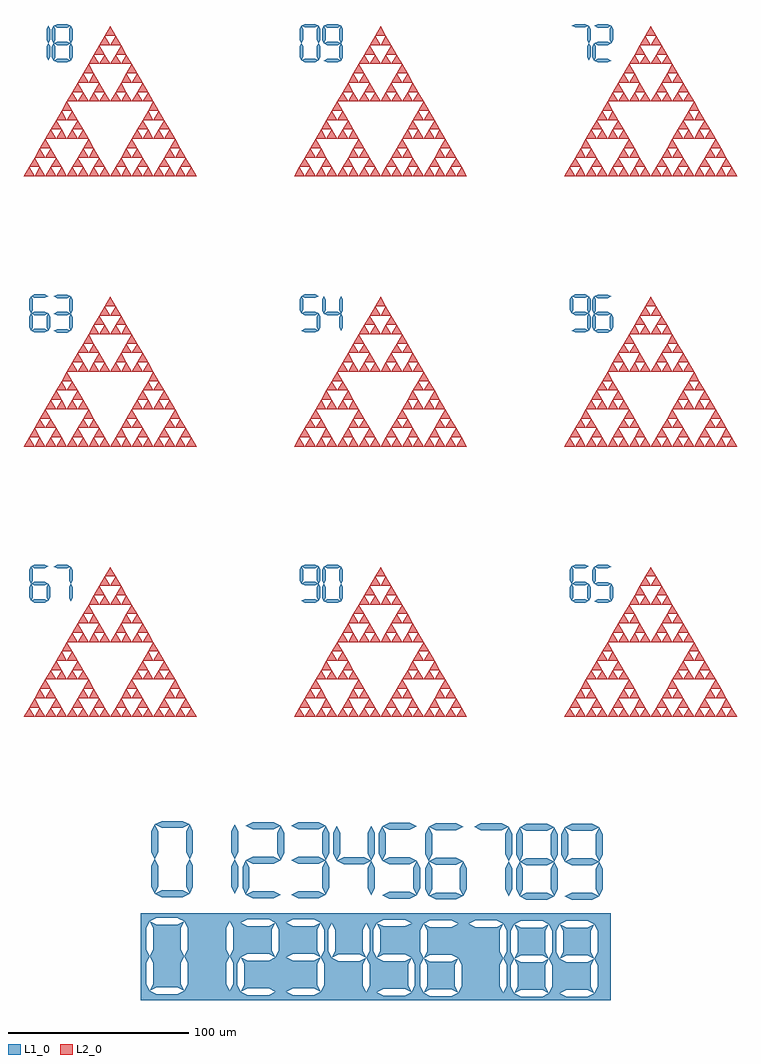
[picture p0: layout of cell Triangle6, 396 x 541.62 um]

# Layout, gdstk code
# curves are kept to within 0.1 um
from math import pi, radians
import gdstk
lib = gdstk.Library(unit=1e-6, precision=1e-09)
def P(c, l, *ps):  # polygons
    for p in ps: c.add(gdstk.Polygon(p, *l))
L1_0 = (1, 0)
L2_0 = (2, 0)

circle_1 = lib.new_cell('CIRCLE$1')
P(circle_1, L2_0, [(-2,-3),(-2,3),(3.196,0)])

triangle1 = lib.new_cell('Triangle1')
triangle1.add(gdstk.Reference(circle_1, (2,1), rotation=pi/2))

triangle2 = lib.new_cell('Triangle2')
triangle2.add(gdstk.Reference(triangle1, (0,-2)))
triangle2.add(gdstk.Reference(triangle1, (6,-2)))
triangle2.add(gdstk.Reference(triangle1, (3,3.196)))

triangle3 = lib.new_cell('Triangle3')
triangle3.add(gdstk.Reference(triangle2, (-0.255,-0.979)))
triangle3.add(gdstk.Reference(triangle2, (5.745,9.413)))
triangle3.add(gdstk.Reference(triangle2, (11.745,-0.979)))

triangle4 = lib.new_cell('Triangle4')
triangle4.add(gdstk.Reference(triangle3, (-7.167,-1.132)))
triangle4.add(gdstk.Reference(triangle3, (4.833,19.652)))
triangle4.add(gdstk.Reference(triangle3, (16.833,-1.132)))

triangle5 = lib.new_cell('Triangle5')
triangle5.add(gdstk.Reference(triangle4, (-16.207,-12.892)))
triangle5.add(gdstk.Reference(triangle4, (7.793,28.676)))
triangle5.add(gdstk.Reference(triangle4, (31.793,-12.892)))

triangle6 = lib.new_cell('Triangle6')
P(triangle6, L1_0, [(129.08,-99.35),(125.24,-97.43),(129.08,-95.51),(140.6,-95.51),(144.44,-97.43),(140.6,-99.35)],
  [(129.08,-80.15),(125.24,-78.23),(129.08,-76.31),(140.6,-76.31),(144.44,-78.23),(140.6,-80.15)],
  [(129.08,-118.55),(125.24,-116.63),(129.08,-114.71),(140.6,-114.71),(144.44,-116.63),(140.6,-118.55)],
  [(41.69,-174.96),(41.69,-129.43),(50.53,-129.43),(46.69,-131.35),(44.77,-135.19),(44.77,-146.71),(46.69,-150.55),(44.77,-154.39),(44.77,-165.91),(46.69,-169.75),(50.53,-171.67),(62.05,-171.67),(65.89,-169.75),(67.81,-165.91),(67.81,-154.39),(65.89,-150.55),(67.81,-146.71),(67.81,-135.19),(65.9,-131.37),(91.03,-131.37),(89.11,-135.21),(89.11,-146.73),(91.03,-150.57),(89.11,-154.41),(89.11,-165.93),(91.03,-169.77),(92.95,-165.93),(92.95,-154.41),(91.03,-150.57),(92.95,-146.73),(92.95,-135.21),(91.03,-131.37),(65.9,-131.37),(63.37,-130.09),(101.07,-130.09),(97.23,-132.01),(101.07,-133.93),(112.59,-133.93),(116.43,-132.01),(114.51,-135.85),(114.51,-147.37),(116.43,-151.21),(112.59,-149.29),(101.07,-149.29),(97.23,-151.21),(95.31,-155.05),(95.31,-166.57),(97.23,-170.41),(101.07,-172.33),(112.59,-172.33),(116.43,-170.41),(112.59,-168.49),(101.07,-168.49),(97.23,-170.41),(99.15,-166.57),(99.15,-155.05),(97.23,-151.21),(101.07,-153.13),(112.59,-153.13),(116.43,-151.21),(118.35,-147.37),(118.35,-135.85),(116.43,-132.01),(112.63,-130.11),(126.21,-130.11),(122.37,-132.03),(126.21,-133.95),(137.73,-133.95),(141.57,-132.03),(139.65,-135.87),(139.65,-147.39),(141.57,-151.23),(137.73,-149.31),(126.21,-149.31),(122.37,-151.23),(126.21,-153.15),(137.73,-153.15),(141.57,-151.23),(139.65,-155.07),(139.65,-166.59),(141.57,-170.43),(137.73,-168.51),(126.21,-168.51),(122.37,-170.43),(126.21,-172.35),(137.73,-172.35),(141.57,-170.43),(143.49,-166.59),(143.49,-155.07),(141.57,-151.23),(143.49,-147.39),(143.49,-135.87),(141.67,-132.23),(166.81,-132.23),(164.89,-136.07),(164.89,-147.59),(166.81,-151.43),(162.97,-149.51),(151.45,-149.51),(147.61,-151.43),(149.53,-147.59),(149.53,-136.07),(147.61,-132.23),(145.69,-136.07),(145.69,-147.59),(147.61,-151.43),(151.45,-153.35),(162.97,-153.35),(166.81,-151.43),(164.89,-155.27),(164.89,-166.79),(166.81,-170.63),(168.73,-166.79),(168.73,-155.27),(166.81,-151.43),(168.73,-147.59),(168.73,-136.07),(166.81,-132.23),(141.67,-132.23),(141.57,-132.03),(138.17,-130.33),(176.59,-130.33),(172.75,-132.25),(170.83,-136.09),(170.83,-147.61),(172.75,-151.45),(176.59,-153.37),(188.11,-153.37),(191.95,-151.45),(190.03,-155.29),(190.03,-166.81),(191.95,-170.65),(188.11,-168.73),(176.59,-168.73),(172.75,-170.65),(176.59,-172.57),(188.11,-172.57),(191.95,-170.65),(193.87,-166.81),(193.87,-155.29),(191.95,-151.45),(188.11,-149.53),(176.59,-149.53),(172.75,-151.45),(174.67,-147.61),(174.67,-136.09),(172.75,-132.25),(176.59,-134.17),(188.11,-134.17),(191.95,-132.25),(188.87,-130.71),(202.47,-130.71),(198.63,-132.63),(196.71,-136.47),(196.71,-147.99),(198.63,-151.83),(196.71,-155.67),(196.71,-167.19),(198.63,-171.03),(202.47,-172.95),(213.99,-172.95),(217.83,-171.03),(219.75,-167.19),(219.75,-155.67),(217.83,-151.83),(213.99,-149.91),(202.47,-149.91),(198.63,-151.83),(200.55,-147.99),(200.55,-136.47),(198.63,-132.63),(202.47,-134.55),(213.99,-134.55),(217.83,-132.63),(214.03,-130.73),(227.61,-130.73),(223.77,-132.65),(227.61,-134.57),(239.13,-134.57),(242.97,-132.65),(241.05,-136.49),(241.05,-148.01),(242.97,-151.85),(241.05,-155.69),(241.05,-167.21),(242.97,-171.05),(244.89,-167.21),(244.89,-155.69),(242.97,-151.85),(244.89,-148.01),(244.89,-136.49),(242.97,-132.65),(239.53,-130.93),(252.85,-130.93),(249.01,-132.85),(247.09,-136.69),(247.09,-148.21),(249.01,-152.05),(247.09,-155.89),(247.09,-167.41),(249.01,-171.25),(252.85,-173.17),(264.37,-173.17),(268.21,-171.25),(270.13,-167.41),(270.13,-155.89),(268.21,-152.05),(270.13,-148.21),(270.13,-136.69),(268.21,-132.85),(264.41,-130.95),(277.99,-130.95),(274.15,-132.87),(272.23,-136.71),(272.23,-148.23),(274.15,-152.07),(277.99,-153.99),(289.51,-153.99),(293.35,-152.07),(291.43,-155.91),(291.43,-167.43),(293.35,-171.27),(289.51,-169.35),(277.99,-169.35),(274.15,-171.27),(277.99,-173.19),(289.51,-173.19),(293.35,-171.27),(295.27,-167.43),(295.27,-155.91),(293.35,-152.07),(295.27,-148.23),(295.27,-136.71),(293.35,-132.87),(289.51,-130.95),(188.87,-130.71),(188.11,-130.33),(138.17,-130.33),(137.73,-130.11),(63.37,-130.09),(62.05,-129.43),(41.69,-129.43),(41.69,-126.81),(302.44,-126.81),(302.44,-174.96)],
  [(143.3,205.96),(142.34,207.88),(142.34,213.64),(143.3,215.56),(144.26,213.64),(144.26,207.88)],
  [(293.3,205.96),(292.34,207.88),(292.34,213.64),(293.3,215.56),(294.26,213.64),(294.26,207.88)],
  [(143.3,355.96),(142.34,357.88),(142.34,363.64),(143.3,365.56),(144.26,363.64),(144.26,357.88)],
  [(152.9,196.36),(151.94,198.28),(151.94,204.04),(152.9,205.96),(153.86,204.04),(153.86,198.28)],
  [(302.9,196.36),(301.94,198.28),(301.94,204.04),(302.9,205.96),(303.86,204.04),(303.86,198.28)],
  [(152.9,346.36),(151.94,348.28),(151.94,354.04),(152.9,355.96),(153.86,354.04),(153.86,348.28)],
  [(145.22,205),(143.3,205.96),(145.22,206.92),(150.98,206.92),(152.9,205.96),(150.98,205)],
  [(295.22,205),(293.3,205.96),(295.22,206.92),(300.98,206.92),(302.9,205.96),(300.98,205)],
  [(145.22,355),(143.3,355.96),(145.22,356.92),(150.98,356.92),(152.9,355.96),(150.98,355)],
  [(295.22,355),(293.3,355.96),(295.22,356.92),(300.98,356.92),(302.9,355.96),(300.98,355)],
  [(295.22,214.6),(293.3,215.56),(295.22,216.52),(300.98,216.52),(302.9,215.56),(300.98,214.6)],
  [(145.22,364.6),(143.3,365.56),(145.22,366.52),(150.98,366.52),(152.9,365.56),(150.98,364.6)],
  [(295.22,364.6),(293.3,365.56),(295.22,366.52),(300.98,366.52),(302.9,365.56),(300.98,364.6)],
  [(295.22,195.4),(293.3,196.36),(295.22,197.32),(300.98,197.32),(302.9,196.36),(300.98,195.4)],
  [(145.22,345.4),(143.3,346.36),(145.22,347.32),(150.98,347.32),(152.9,346.36),(150.98,345.4)],
  [(295.22,345.4),(293.3,346.36),(295.22,347.32),(300.98,347.32),(302.9,346.36),(300.98,345.4)],
  [(152.9,205.96),(151.94,207.88),(151.94,213.64),(152.9,215.56),(153.86,213.64),(153.86,207.88)],
  [(152.9,355.96),(151.94,357.88),(151.94,363.64),(152.9,365.56),(153.86,363.64),(153.86,357.88)],
  [(302.9,355.96),(301.94,357.88),(301.94,363.64),(302.9,365.56),(303.86,363.64),(303.86,357.88)],
  [(293.3,196.36),(292.34,198.28),(292.34,204.04),(293.3,205.96),(294.26,204.04),(294.26,198.28)],
  [(293.3,346.36),(292.34,348.28),(292.34,354.04),(293.3,355.96),(294.26,354.04),(294.26,348.28)],
  [(280.8,206.1),(279.84,208.02),(279.84,213.78),(280.8,215.7),(281.76,213.78),(281.76,208.02)],
  [(290.4,196.5),(289.44,198.42),(289.44,204.18),(290.4,206.1),(291.36,204.18),(291.36,198.42)],
  [(290.4,346.5),(289.44,348.42),(289.44,354.18),(290.4,356.1),(291.36,354.18),(291.36,348.42)],
  [(282.72,205.14),(280.8,206.1),(282.72,207.06),(288.48,207.06),(290.4,206.1),(288.48,205.14)],
  [(282.72,214.74),(280.8,215.7),(282.72,216.66),(288.48,216.66),(290.4,215.7),(288.48,214.74)],
  [(282.72,364.74),(280.8,365.7),(282.72,366.66),(288.48,366.66),(290.4,365.7),(288.48,364.74)],
  [(282.72,195.54),(280.8,196.5),(282.72,197.46),(288.48,197.46),(290.4,196.5),(288.48,195.54)],
  [(290.4,206.1),(289.44,208.02),(289.44,213.78),(290.4,215.7),(291.36,213.78),(291.36,208.02)],
  [(290.4,356.1),(289.44,358.02),(289.44,363.78),(290.4,365.7),(291.36,363.78),(291.36,358.02)],
  [(-4.78,355),(-6.7,355.96),(-4.78,356.92),(0.98,356.92),(2.9,355.96),(0.98,355)],
  [(-6.7,346.36),(-7.66,348.28),(-7.66,354.04),(-6.7,355.96),(-5.74,354.04),(-5.74,348.28)],
  [(-4.78,195.4),(-6.7,196.36),(-4.78,197.32),(0.98,197.32),(2.9,196.36),(0.98,195.4)],
  [(-19.2,206.1),(-20.16,208.02),(-20.16,213.78),(-19.2,215.7),(-18.24,213.78),(-18.24,208.02)],
  [(130.8,206.1),(129.84,208.02),(129.84,213.78),(130.8,215.7),(131.76,213.78),(131.76,208.02)],
  [(-6.7,355.96),(-7.66,357.88),(-7.66,363.64),(-6.7,365.56),(-5.74,363.64),(-5.74,357.88)],
  [(130.8,356.1),(129.84,358.02),(129.84,363.78),(130.8,365.7),(131.76,363.78),(131.76,358.02)],
  [(-9.6,196.5),(-10.56,198.42),(-10.56,204.18),(-9.6,206.1),(-8.64,204.18),(-8.64,198.42)],
  [(140.4,196.5),(139.44,198.42),(139.44,204.18),(140.4,206.1),(141.36,204.18),(141.36,198.42)],
  [(-4.78,345.4),(-6.7,346.36),(-4.78,347.32),(0.98,347.32),(2.9,346.36),(0.98,345.4)],
  [(-9.6,346.5),(-10.56,348.42),(-10.56,354.18),(-9.6,356.1),(-8.64,354.18),(-8.64,348.42)],
  [(140.4,346.5),(139.44,348.42),(139.44,354.18),(140.4,356.1),(141.36,354.18),(141.36,348.42)],
  [(-4.78,205),(-6.7,205.96),(-4.78,206.92),(0.98,206.92),(2.9,205.96),(0.98,205)],
  [(-17.28,205.14),(-19.2,206.1),(-17.28,207.06),(-11.52,207.06),(-9.6,206.1),(-11.52,205.14)],
  [(132.72,205.14),(130.8,206.1),(132.72,207.06),(138.48,207.06),(140.4,206.1),(138.48,205.14)],
  [(-4.78,214.6),(-6.7,215.56),(-4.78,216.52),(0.98,216.52),(2.9,215.56),(0.98,214.6)],
  [(-17.28,214.74),(-19.2,215.7),(-17.28,216.66),(-11.52,216.66),(-9.6,215.7),(-11.52,214.74)],
  [(132.72,214.74),(130.8,215.7),(132.72,216.66),(138.48,216.66),(140.4,215.7),(138.48,214.74)],
  [(2.9,205.96),(1.94,207.88),(1.94,213.64),(2.9,215.56),(3.86,213.64),(3.86,207.88)],
  [(132.72,364.74),(130.8,365.7),(132.72,366.66),(138.48,366.66),(140.4,365.7),(138.48,364.74)],
  [(2.9,196.36),(1.94,198.28),(1.94,204.04),(2.9,205.96),(3.86,204.04),(3.86,198.28)],
  [(-17.28,195.54),(-19.2,196.5),(-17.28,197.46),(-11.52,197.46),(-9.6,196.5),(-11.52,195.54)],
  [(132.72,195.54),(130.8,196.5),(132.72,197.46),(138.48,197.46),(140.4,196.5),(138.48,195.54)],
  [(2.9,355.96),(1.94,357.88),(1.94,363.64),(2.9,365.56),(3.86,363.64),(3.86,357.88)],
  [(132.72,345.54),(130.8,346.5),(132.72,347.46),(138.48,347.46),(140.4,346.5),(138.48,345.54)],
  [(-4.78,364.6),(-6.7,365.56),(-4.78,366.52),(0.98,366.52),(2.9,365.56),(0.98,364.6)],
  [(-9.6,356.1),(-10.56,358.02),(-10.56,363.78),(-9.6,365.7),(-8.64,363.78),(-8.64,358.02)],
  [(140.4,356.1),(139.44,358.02),(139.44,363.78),(140.4,365.7),(141.36,363.78),(141.36,358.02)],
  [(2.9,346.36),(1.94,348.28),(1.94,354.04),(2.9,355.96),(3.86,354.04),(3.86,348.28)],
  [(-19.2,196.5),(-20.16,198.42),(-20.16,204.18),(-19.2,206.1),(-18.24,204.18),(-18.24,198.42)],
  [(130.8,346.5),(129.84,348.42),(129.84,354.18),(130.8,356.1),(131.76,354.18),(131.76,348.42)],
  [(140.4,46.5),(139.44,48.42),(139.44,54.18),(140.4,56.1),(141.36,54.18),(141.36,48.42)],
  [(2.9,46.36),(1.94,48.28),(1.94,54.04),(2.9,55.96),(3.86,54.04),(3.86,48.28)],
  [(-4.78,64.6),(-6.7,65.56),(-4.78,66.52),(0.98,66.52),(2.9,65.56),(0.98,64.6)],
  [(2.9,55.96),(1.94,57.88),(1.94,63.64),(2.9,65.56),(3.86,63.64),(3.86,57.88)],
  [(-19.2,56.1),(-20.16,58.02),(-20.16,63.78),(-19.2,65.7),(-18.24,63.78),(-18.24,58.02)],
  [(-9.6,46.5),(-10.56,48.42),(-10.56,54.18),(-9.6,56.1),(-8.64,54.18),(-8.64,48.42)],
  [(-17.28,55.14),(-19.2,56.1),(-17.28,57.06),(-11.52,57.06),(-9.6,56.1),(-11.52,55.14)],
  [(132.72,55.14),(130.8,56.1),(132.72,57.06),(138.48,57.06),(140.4,56.1),(138.48,55.14)],
  [(-17.28,64.74),(-19.2,65.7),(-17.28,66.66),(-11.52,66.66),(-9.6,65.7),(-11.52,64.74)],
  [(-17.28,45.54),(-19.2,46.5),(-17.28,47.46),(-11.52,47.46),(-9.6,46.5),(-11.52,45.54)],
  [(-19.2,46.5),(-20.16,48.42),(-20.16,54.18),(-19.2,56.1),(-18.24,54.18),(-18.24,48.42)],
  [(132.72,64.74),(130.8,65.7),(132.72,66.66),(138.48,66.66),(140.4,65.7),(138.48,64.74)],
  [(68.76,-96.75),(66.84,-92.91),(66.84,-81.39),(68.76,-77.55),(70.68,-81.39),(70.68,-92.91)],
  [(49.56,-115.95),(47.64,-112.11),(47.64,-100.59),(49.56,-96.75),(51.48,-100.59),(51.48,-112.11)],
  [(93.9,-115.97),(91.98,-112.13),(91.98,-100.61),(93.9,-96.77),(95.82,-100.61),(95.82,-112.13)],
  [(93.9,-96.77),(91.98,-92.93),(91.98,-81.41),(93.9,-77.57),(95.82,-81.41),(95.82,-92.93)],
  [(103.94,-99.33),(100.1,-97.41),(103.94,-95.49),(115.46,-95.49),(119.3,-97.41),(115.46,-99.33)],
  [(132.72,45.54),(130.8,46.5),(132.72,47.46),(138.48,47.46),(140.4,46.5),(138.48,45.54)],
  [(103.94,-80.13),(100.1,-78.21),(103.94,-76.29),(115.46,-76.29),(119.3,-78.21),(115.46,-80.13)],
  [(103.94,-118.53),(100.1,-116.61),(103.94,-114.69),(115.46,-114.69),(119.3,-116.61),(115.46,-118.53)],
  [(119.3,-97.41),(117.38,-93.57),(117.38,-82.05),(119.3,-78.21),(121.22,-82.05),(121.22,-93.57)],
  [(100.1,-116.61),(98.18,-112.77),(98.18,-101.25),(100.1,-97.41),(102.02,-101.25),(102.02,-112.77)],
  [(140.4,56.1),(139.44,58.02),(139.44,63.78),(140.4,65.7),(141.36,63.78),(141.36,58.02)],
  [(49.56,-96.75),(47.64,-92.91),(47.64,-81.39),(49.56,-77.55),(51.48,-81.39),(51.48,-92.91)],
  [(130.8,56.1),(129.84,58.02),(129.84,63.78),(130.8,65.7),(131.76,63.78),(131.76,58.02)],
  [(68.76,-115.95),(66.84,-112.11),(66.84,-100.59),(68.76,-96.75),(70.68,-100.59),(70.68,-112.11)],
  [(53.4,-79.47),(49.56,-77.55),(53.4,-75.63),(64.92,-75.63),(68.76,-77.55),(64.92,-79.47)],
  [(46.69,-169.75),(48.61,-165.91),(48.61,-154.39),(46.69,-150.55),(48.61,-146.71),(48.61,-135.19),(46.69,-131.35),(50.53,-133.27),(62.05,-133.27),(65.89,-131.35),(63.97,-135.19),(63.97,-146.71),(65.89,-150.55),(63.97,-154.39),(63.97,-165.91),(65.89,-169.75),(62.05,-167.83),(50.53,-167.83)],
  [(53.4,-117.87),(49.56,-115.95),(53.4,-114.03),(64.92,-114.03),(68.76,-115.95),(64.92,-117.87)],
  [(296.22,-98.27),(294.3,-94.43),(294.3,-82.91),(296.22,-79.07),(298.14,-82.91),(298.14,-94.43)],
  [(249.01,-171.25),(250.93,-167.41),(250.93,-155.89),(249.01,-152.05),(252.85,-153.97),(264.37,-153.97),(268.21,-152.05),(266.29,-155.89),(266.29,-167.41),(268.21,-171.25),(264.37,-169.33),(252.85,-169.33)],
  [(198.63,-171.03),(200.55,-167.19),(200.55,-155.67),(198.63,-151.83),(202.47,-153.75),(213.99,-153.75),(217.83,-151.83),(215.91,-155.67),(215.91,-167.19),(217.83,-171.03),(213.99,-169.11),(202.47,-169.11)],
  [(274.15,-152.07),(276.07,-148.23),(276.07,-136.71),(274.15,-132.87),(277.99,-134.79),(289.51,-134.79),(293.35,-132.87),(291.43,-136.71),(291.43,-148.23),(293.35,-152.07),(289.51,-150.15),(277.99,-150.15)],
  [(152.9,55.96),(151.94,57.88),(151.94,63.64),(152.9,65.56),(153.86,63.64),(153.86,57.88)],
  [(249.01,-152.05),(250.93,-148.21),(250.93,-136.69),(249.01,-132.85),(252.85,-134.77),(264.37,-134.77),(268.21,-132.85),(266.29,-136.69),(266.29,-148.21),(268.21,-152.05),(264.37,-150.13),(252.85,-150.13)],
  [(144.44,-116.63),(142.52,-112.79),(142.52,-101.27),(144.44,-97.43),(146.36,-101.27),(146.36,-112.79)],
  [(144.44,-97.43),(142.52,-93.59),(142.52,-82.07),(144.44,-78.23),(146.36,-82.07),(146.36,-93.59)],
  [(150.48,-97.63),(148.56,-93.79),(148.56,-82.27),(150.48,-78.43),(152.4,-82.27),(152.4,-93.79)],
  [(169.68,-116.83),(167.76,-112.99),(167.76,-101.47),(169.68,-97.63),(171.6,-101.47),(171.6,-112.99)],
  [(143.3,46.36),(142.34,48.28),(142.34,54.04),(143.3,55.96),(144.26,54.04),(144.26,48.28)],
  [(154.32,-99.55),(150.48,-97.63),(154.32,-95.71),(165.84,-95.71),(169.68,-97.63),(165.84,-99.55)],
  [(169.68,-97.63),(167.76,-93.79),(167.76,-82.27),(169.68,-78.43),(171.6,-82.27),(171.6,-93.79)],
  [(175.62,-97.65),(173.7,-93.81),(173.7,-82.29),(175.62,-78.45),(177.54,-82.29),(177.54,-93.81)],
  [(194.82,-116.85),(192.9,-113.01),(192.9,-101.49),(194.82,-97.65),(196.74,-101.49),(196.74,-113.01)],
  [(280.8,56.1),(279.84,58.02),(279.84,63.78),(280.8,65.7),(281.76,63.78),(281.76,58.02)],
  [(179.46,-99.57),(175.62,-97.65),(179.46,-95.73),(190.98,-95.73),(194.82,-97.65),(190.98,-99.57)],
  [(179.46,-80.37),(175.62,-78.45),(179.46,-76.53),(190.98,-76.53),(194.82,-78.45),(190.98,-80.37)],
  [(179.46,-118.77),(175.62,-116.85),(179.46,-114.93),(190.98,-114.93),(194.82,-116.85),(190.98,-118.77)],
  [(143.3,55.96),(142.34,57.88),(142.34,63.64),(143.3,65.56),(144.26,63.64),(144.26,57.88)],
  [(293.3,55.96),(292.34,57.88),(292.34,63.64),(293.3,65.56),(294.26,63.64),(294.26,57.88)],
  [(290.4,46.5),(289.44,48.42),(289.44,54.18),(290.4,56.1),(291.36,54.18),(291.36,48.42)],
  [(201.5,-98.03),(199.58,-94.19),(199.58,-82.67),(201.5,-78.83),(203.42,-82.67),(203.42,-94.19)],
  [(220.7,-117.23),(218.78,-113.39),(218.78,-101.87),(220.7,-98.03),(222.62,-101.87),(222.62,-113.39)],
  [(205.34,-99.95),(201.5,-98.03),(205.34,-96.11),(216.86,-96.11),(220.7,-98.03),(216.86,-99.95)],
  [(205.34,-80.75),(201.5,-78.83),(205.34,-76.91),(216.86,-76.91),(220.7,-78.83),(216.86,-80.75)],
  [(152.9,46.36),(151.94,48.28),(151.94,54.04),(152.9,55.96),(153.86,54.04),(153.86,48.28)],
  [(302.9,46.36),(301.94,48.28),(301.94,54.04),(302.9,55.96),(303.86,54.04),(303.86,48.28)],
  [(205.34,-119.15),(201.5,-117.23),(205.34,-115.31),(216.86,-115.31),(220.7,-117.23),(216.86,-119.15)],
  [(282.72,55.14),(280.8,56.1),(282.72,57.06),(288.48,57.06),(290.4,56.1),(288.48,55.14)],
  [(201.5,-117.23),(199.58,-113.39),(199.58,-101.87),(201.5,-98.03),(203.42,-101.87),(203.42,-113.39)],
  [(245.84,-117.25),(243.92,-113.41),(243.92,-101.89),(245.84,-98.05),(247.76,-101.89),(247.76,-113.41)],
  [(230.48,-80.77),(226.64,-78.85),(230.48,-76.93),(242,-76.93),(245.84,-78.85),(242,-80.77)],
  [(245.84,-98.05),(243.92,-94.21),(243.92,-82.69),(245.84,-78.85),(247.76,-82.69),(247.76,-94.21)],
  [(282.72,64.74),(280.8,65.7),(282.72,66.66),(288.48,66.66),(290.4,65.7),(288.48,64.74)],
  [(295.22,55),(293.3,55.96),(295.22,56.92),(300.98,56.92),(302.9,55.96),(300.98,55)],
  [(251.88,-98.25),(249.96,-94.41),(249.96,-82.89),(251.88,-79.05),(253.8,-82.89),(253.8,-94.41)],
  [(271.08,-117.45),(269.16,-113.61),(269.16,-102.09),(271.08,-98.25),(273,-102.09),(273,-113.61)],
  [(255.72,-100.17),(251.88,-98.25),(255.72,-96.33),(267.24,-96.33),(271.08,-98.25),(267.24,-100.17)],
  [(255.72,-80.97),(251.88,-79.05),(255.72,-77.13),(267.24,-77.13),(271.08,-79.05),(267.24,-80.97)],
  [(255.72,-119.37),(251.88,-117.45),(255.72,-115.53),(267.24,-115.53),(271.08,-117.45),(267.24,-119.37)],
  [(282.72,45.54),(280.8,46.5),(282.72,47.46),(288.48,47.46),(290.4,46.5),(288.48,45.54)],
  [(271.08,-98.25),(269.16,-94.41),(269.16,-82.89),(271.08,-79.05),(273,-82.89),(273,-94.41)],
  [(145.22,64.6),(143.3,65.56),(145.22,66.52),(150.98,66.52),(152.9,65.56),(150.98,64.6)],
  [(295.22,64.6),(293.3,65.56),(295.22,66.52),(300.98,66.52),(302.9,65.56),(300.98,64.6)],
  [(251.88,-117.45),(249.96,-113.61),(249.96,-102.09),(251.88,-98.25),(253.8,-102.09),(253.8,-113.61)],
  [(277.02,-98.27),(275.1,-94.43),(275.1,-82.91),(277.02,-79.07),(278.94,-82.91),(278.94,-94.43)],
  [(296.22,-117.47),(294.3,-113.63),(294.3,-102.11),(296.22,-98.27),(298.14,-102.11),(298.14,-113.63)],
  [(280.86,-100.19),(277.02,-98.27),(280.86,-96.35),(292.38,-96.35),(296.22,-98.27),(292.38,-100.19)],
  [(280.86,-80.99),(277.02,-79.07),(280.86,-77.15),(292.38,-77.15),(296.22,-79.07),(292.38,-80.99)],
  [(145.22,45.4),(143.3,46.36),(145.22,47.32),(150.98,47.32),(152.9,46.36),(150.98,45.4)],
  [(280.8,46.5),(279.84,48.42),(279.84,54.18),(280.8,56.1),(281.76,54.18),(281.76,48.42)],
  [(295.22,45.4),(293.3,46.36),(295.22,47.32),(300.98,47.32),(302.9,46.36),(300.98,45.4)],
  [(280.86,-119.39),(277.02,-117.47),(280.86,-115.55),(292.38,-115.55),(296.22,-117.47),(292.38,-119.39)])
triangle6.add(gdstk.Reference(triangle5, (1.37,0.14)))
triangle6.add(gdstk.Reference(triangle5, (151.37,0.14)))
triangle6.add(gdstk.Reference(triangle5, (301.37,0.14)))
triangle6.add(gdstk.Reference(triangle5, (1.37,150.14)))
triangle6.add(gdstk.Reference(triangle5, (151.37,150.14)))
triangle6.add(gdstk.Reference(triangle5, (301.37,150.14)))
triangle6.add(gdstk.Reference(triangle5, (151.37,300.14)))
triangle6.add(gdstk.Reference(triangle5, (301.37,300.14)))
triangle6.add(gdstk.Reference(triangle5, (1.37,300.14)))

lib.write_gds('Triangle6.gds')
